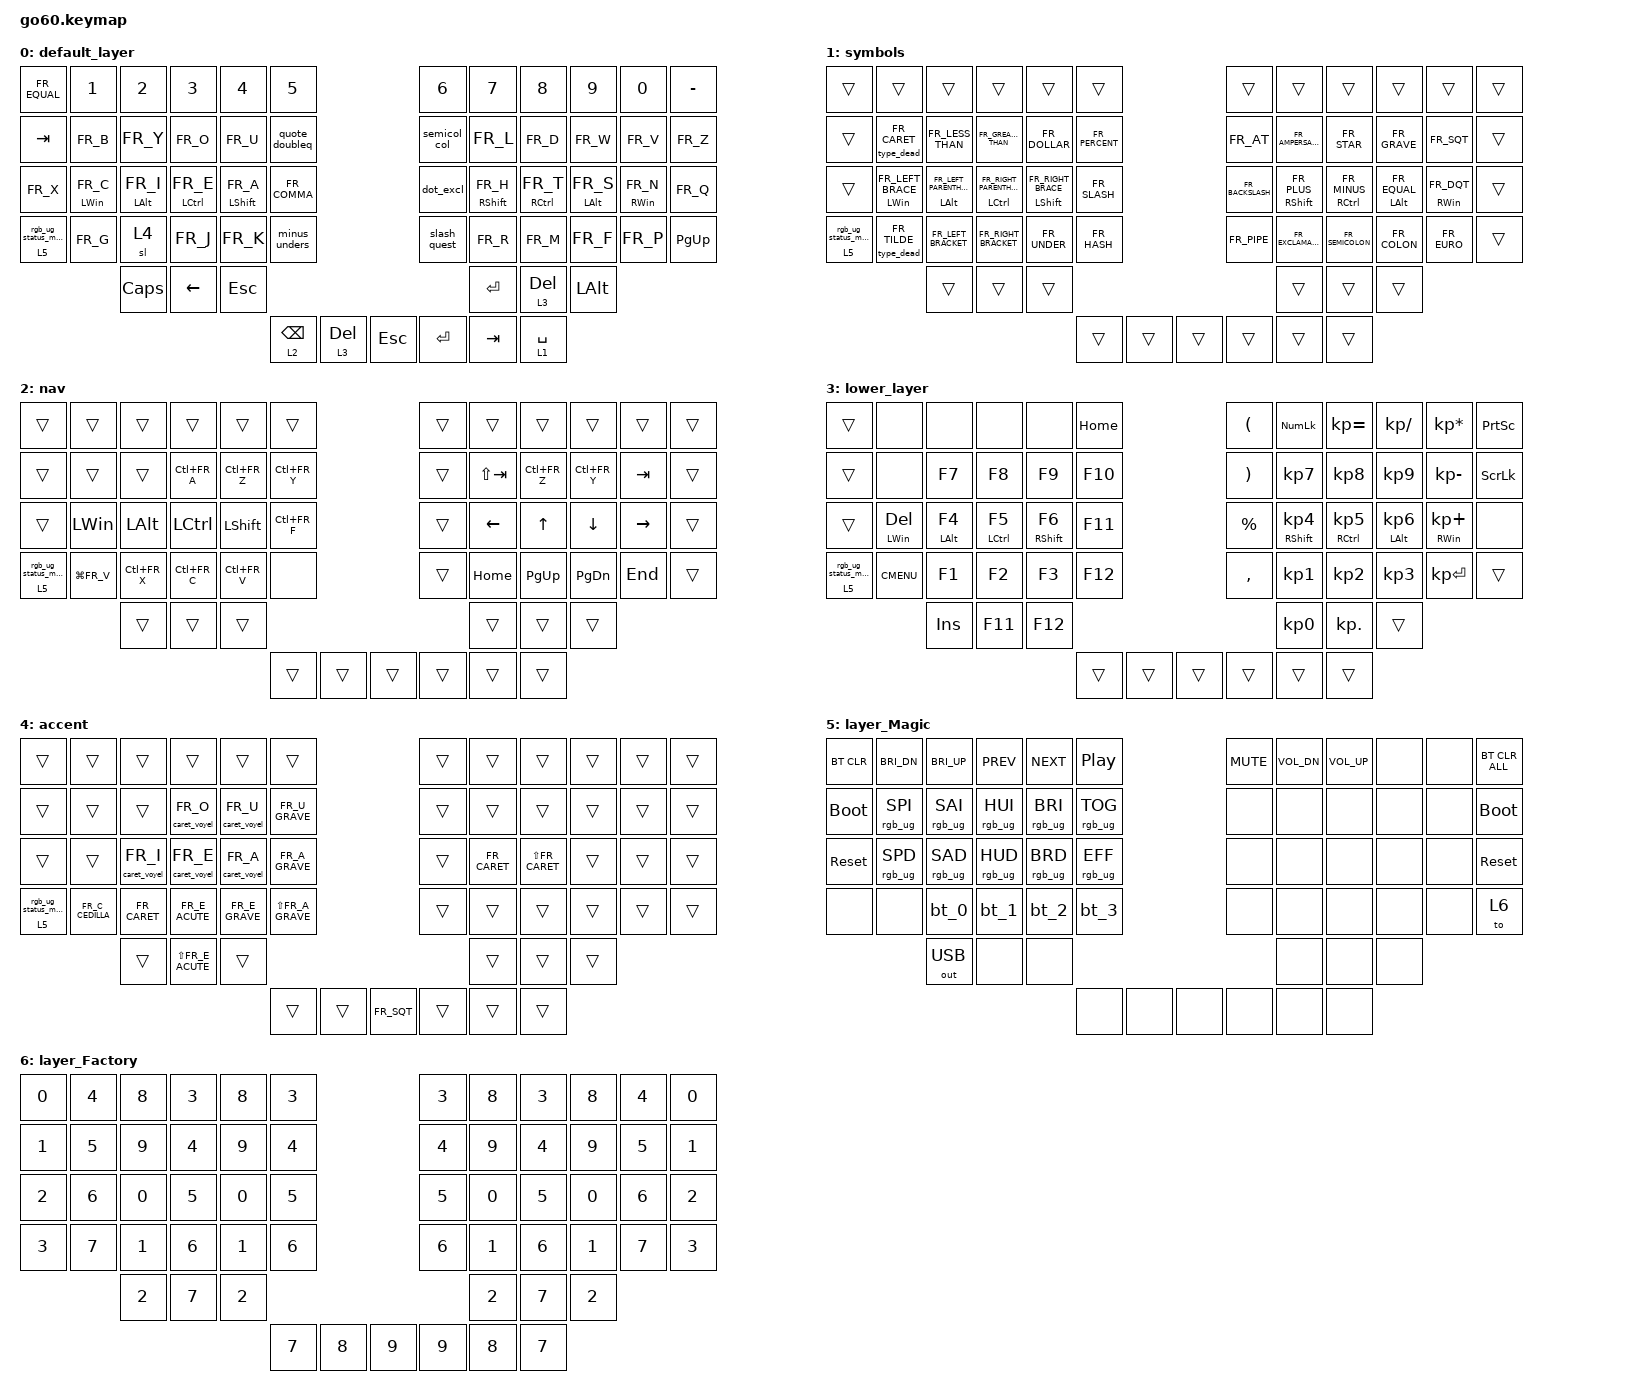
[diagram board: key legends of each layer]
/*
 * Copyright (c) 2020 The ZMK Contributors
 *
 * SPDX-License-Identifier: MIT
 */

#include <dt-bindings/zmk/input_transform.h>
#include "keys_fr_belgian.h"
#include <input/processors.dtsi>
#include <zephyr/dt-bindings/input/input-event-codes.h>
#include <behaviors.dtsi>
#include <dt-bindings/zmk/bt.h>
#include <dt-bindings/zmk/keys.h>
#include <dt-bindings/zmk/outputs.h>
#include <dt-bindings/zmk/rgb.h>

// layers

#define DEFAULT 0
#define SYMBOLS  1
#define NAV 2
#define LOWER 3
#define ACCENT 4
#define MAGIC 5
#define LAYER_Factory 6

/ {
    input_processors {
        zip_click_to_right_click_mapper: zip_click_to_right_click_mapper {
            compatible = "zmk,input-processor-code-mapper";
            #input-processor-cells = <0>;
            type = <INPUT_EV_KEY>;
            map = <INPUT_BTN_0 INPUT_BTN_1>;
        };
    };

    behaviors {
        magic: magic {
            compatible = "zmk,behavior-hold-tap";
            #binding-cells = <2>;
            flavor = "tap-preferred";
            tapping-term-ms = <200>;
            bindings = <&mo>, <&rgb_ug_status_macro>;
        };

        bt_0: bt_0 {
            compatible = "zmk,behavior-tap-dance";
            #binding-cells = <0>;
            tapping-term-ms = <200>;
            bindings = <&bt_select_0>, <&bt BT_DISC 0>;
        };

        bt_1: bt_1 {
            compatible = "zmk,behavior-tap-dance";
            #binding-cells = <0>;
            tapping-term-ms = <200>;
            bindings = <&bt_select_1>, <&bt BT_DISC 1>;
        };

        bt_2: bt_2 {
            compatible = "zmk,behavior-tap-dance";
            #binding-cells = <0>;
            tapping-term-ms = <200>;
            bindings = <&bt_select_2>, <&bt BT_DISC 2>;
        };

        bt_3: bt_3 {
            compatible = "zmk,behavior-tap-dance";
            #binding-cells = <0>;
            tapping-term-ms = <200>;
            bindings = <&bt_select_3>, <&bt BT_DISC 3>;
        };

        layer_td: tap_dance_0 {
            compatible = "zmk,behavior-tap-dance";
            label = "LAYER_TAP_DANCE";
            #binding-cells = <0>;
            tapping-term-ms = <200>;
            bindings = <&mo 3>, <&to 3>;
        };

        hmr: hmr {
            compatible = "zmk,behavior-hold-tap";
            label = "HMR";
            bindings = <&kp>, <&kp>;

            #binding-cells = <2>;
            tapping-term-ms = <280>;
            quick-tap-ms = <175>;
            flavor = "balanced";
            require-prior-idle-ms = <150>;
            hold-trigger-on-release;
            hold-trigger-key-positions = <36 37 48 49 50 54 55 56 57 58 59 0 1 2 3 4 5 12 13 14 15 16 17 24 25 26 27 28 29 38 39 40 41>;
            retro-tap;
        };

        hml: hml {
            compatible = "zmk,behavior-hold-tap";
            label = "HML";
            bindings = <&kp>, <&kp>;

            #binding-cells = <2>;
            tapping-term-ms = <280>;
            quick-tap-ms = <175>;
            flavor = "balanced";
            require-prior-idle-ms = <150>;
            hold-trigger-on-release;
            hold-trigger-key-positions = <6 7 8 9 10 11 18 19 20 21 22 23 30 31 32 33 34 35 42 43 44 45 46 47 51 52 53 57 58 59 54 55 56>;
            retro-tap;
        };

        thumb_layers: thumb_layers {
            compatible = "zmk,behavior-hold-tap";
            label = "THUMB_LAYERS";
            bindings = <&mo>, <&kp>;

            #binding-cells = <2>;
            tapping-term-ms = <200>;
            quick-tap-ms = <150>;
            flavor = "balanced";
            retro-tap;
        };

        dot_excl: dot_excl {
            compatible = "zmk,behavior-mod-morph";
            label = "DOT_EXCL";
            bindings = <&kp FR_DOT>, <&kp FR_EXCL>;

            #binding-cells = <0>;
            mods = <(MOD_LSFT|MOD_RSFT)>;
        };

        semicol_col: semicol_col {
            compatible = "zmk,behavior-mod-morph";
            label = "SEMICOL_COL";
            bindings = <&kp FR_COLON>, <&kp FR_SEMICOLON>;

            #binding-cells = <0>;
            mods = <(MOD_LSFT|MOD_RSFT)>;
        };

        slash_quest: slash_quest {
            compatible = "zmk,behavior-mod-morph";
            label = "SLASH_QUEST";
            bindings = <&kp FR_SLASH>, <&kp FR_QUESTION>;

            #binding-cells = <0>;
            mods = <(MOD_LSFT|MOD_RSFT)>;
        };

        quote_doubleq: quote_doubleq {
            compatible = "zmk,behavior-mod-morph";
            label = "QUOTE_DOUBLEQ";
            bindings = <&kp FR_SINGLE_QUOTE>, <&kp FR_DOUBLE_QUOTES>;

            #binding-cells = <0>;
            mods = <(MOD_LSFT|MOD_RSFT)>;
        };

        minus_unders: minus_unders {
            compatible = "zmk,behavior-mod-morph";
            label = "MINUS_UNDERS";
            bindings = <&kp FR_MINUS>, <&kp FR_UNDERSCORE>;

            #binding-cells = <0>;
            mods = <(MOD_LSFT|MOD_RSFT)>;
        };
    };

    macros {
        rgb_ug_status_macro: rgb_ug_status_macro {
            compatible = "zmk,behavior-macro";
            #binding-cells = <0>;
            bindings = <&rgb_ug RGB_STATUS>;
        };

        bt_select_0: bt_select_0 {
            compatible = "zmk,behavior-macro";
            #binding-cells = <0>;
            bindings = <&out OUT_BLE &bt BT_SEL 0>;
        };

        bt_select_1: bt_select_1 {
            compatible = "zmk,behavior-macro";
            #binding-cells = <0>;
            bindings = <&out OUT_BLE &bt BT_SEL 1>;
        };

        bt_select_2: bt_select_2 {
            compatible = "zmk,behavior-macro";
            #binding-cells = <0>;
            bindings = <&out OUT_BLE &bt BT_SEL 2>;
        };

        bt_select_3: bt_select_3 {
            compatible = "zmk,behavior-macro";
            #binding-cells = <0>;
            bindings = <&out OUT_BLE &bt BT_SEL 3>;
        };

        type_dead: type_dead {
            compatible = "zmk,behavior-macro-one-param";
            #binding-cells = <1>;
            bindings = <&macro_param_1to1 &kp MACRO_PLACEHOLDER &kp SPACE>;
            label = "TYPE_DEAD";
        };

        caret_voyel: caret_voyel {
            compatible = "zmk,behavior-macro-one-param";
            #binding-cells = <1>;
            bindings = <&kp FR_CARET &macro_param_1to1 &kp MACRO_PLACEHOLDER>;
            label = "CARET_VOYEL";
        };
    };

    keymap {
        compatible = "zmk,keymap";

        default_layer {
            // ---------------------------------------------------------------------------------------------------------------------------------
            // |  =    |  1  |  2  |  3   |  4   |  5   |                                                 |  6   |   7   |   8   |  9   |   0   |   -  |
            // |  TAB  |  Q  |  W  |  E   |  R   |  T   |                                                 |  Y   |   U   |   I   |  O   |   P   |   \  |
            // |  ESC  |  A  |  S  |  D   |  F   |  G   |                                                 |  H   |   J   |   K   |  L   |   ;   |   '  |
            // |   `   |  Z  |  X  |  C   |  V   |  B   |                                                 |  N   |   M   |   ,   |  .   |   /   | PGUP |
            //               | END | LEFT | RIGHT|      | BSPC  | DEL   | LALT  | | RALT  | RET   | SPACE |      |  UP   | DOWN  |  O   | 

            bindings = <
&kp FR_EQUAL  &kp N1              &kp N2              &kp N3           &kp N4                &kp N5                                                                                                                 &kp N6        &kp N7           &kp N8                  &kp N9              &kp N0               &kp MINUS
&kp TAB       &kp FR_B            &kp FR_Y            &kp FR_O         &kp FR_U              &quote_doubleq                                                                                                         &semicol_col  &kp FR_L         &kp FR_D                &kp FR_W            &kp FR_V             &kp FR_Z
&kp FR_X      &hml LEFT_WIN FR_C  &hml LEFT_ALT FR_I  &hml LCTRL FR_E  &hml LEFT_SHIFT FR_A  &kp FR_COMMA                                                                                                           &dot_excl     &hmr RSHFT FR_H  &hmr RCTRL FR_T         &hmr LEFT_ALT FR_S  &hmr RIGHT_WIN FR_N  &kp FR_Q
&magic 5 0    &kp FR_G            &sl 4               &kp FR_J         &kp FR_K              &minus_unders                                                                                                          &slash_quest  &kp FR_R         &kp FR_M                &kp FR_F            &kp FR_P             &kp PG_UP
                                  &kp CAPSLOCK        &kp LEFT         &kp ESC                                                                                                                                                    &kp ENTER        &thumb_layers 3 DELETE  &kp LALT
                                                                                                             &thumb_layers 2 BACKSPACE  &thumb_layers 3 DELETE  &kp ESC  &kp ENTER  &kp TAB  &thumb_layers 1 SPACE
            >;
        };

        symbols {
            bindings = <
&trans      &trans                       &trans                             &trans                           &trans                          &trans                                                          &trans            &trans                    &trans               &trans                  &trans                 &trans
&trans      &type_dead FR_CARET          &kp FR_LESS_THAN                   &kp FR_GREATER_THAN              &kp FR_DOLLAR                   &kp FR_PERCENT                                                  &kp FR_AT         &kp FR_AMPERSAND          &kp FR_STAR          &kp FR_GRAVE            &kp FR_SQT             &trans
&trans      &hml LEFT_WIN FR_LEFT_BRACE  &hml LEFT_ALT FR_LEFT_PARENTHESIS  &hml LCTRL FR_RIGHT_PARENTHESIS  &hml LEFT_SHIFT FR_RIGHT_BRACE  &kp FR_SLASH                                                    &kp FR_BACKSLASH  &hmr RIGHT_SHIFT FR_PLUS  &hmr RCTRL FR_MINUS  &hmr LEFT_ALT FR_EQUAL  &hmr RIGHT_WIN FR_DQT  &trans
&magic 5 0  &type_dead FR_TILDE          &kp FR_LEFT_BRACKET                &kp FR_RIGHT_BRACKET             &kp FR_UNDER                    &kp FR_HASH                                                     &kp FR_PIPE       &kp FR_EXCLAMATION        &kp FR_SEMICOLON     &kp FR_COLON            &kp FR_EURO            &trans
                                         &trans                             &trans                           &trans                                                                                                            &trans                    &trans               &trans
                                                                                                                                                             &trans  &trans  &trans  &trans  &trans  &trans
            >;
        };

        nav {
            bindings = <
&trans      &trans        &trans        &trans        &trans          &trans                                                        &trans  &trans          &trans        &trans          &trans     &trans
&trans      &trans        &trans        &kp LC(FR_A)  &kp LC(FR_Z)    &kp LC(FR_Y)                                                  &trans  &kp LS(TAB)     &kp LC(FR_Z)  &kp LC(FR_Y)    &kp TAB    &trans
&trans      &kp LEFT_WIN  &kp LEFT_ALT  &kp LCTRL     &kp LEFT_SHIFT  &kp LC(FR_F)                                                  &trans  &kp LEFT_ARROW  &kp UP        &kp DOWN_ARROW  &kp RIGHT  &trans
&magic 5 0  &kp LG(FR_V)  &kp LC(FR_X)  &kp LC(FR_C)  &kp LC(FR_V)    &none                                                         &trans  &kp HOME        &kp PAGE_UP   &kp PAGE_DOWN   &kp END    &trans
                          &trans        &trans        &trans                                                                                &trans          &trans        &trans
                                                                                    &trans  &trans  &trans  &trans  &trans  &trans
            >;
        };

        lower_layer {
            bindings = <
&trans      &none                 &none             &none          &none           &kp HOME                                                  &kp LPAR   &kp KP_NUM         &kp KP_EQUAL      &kp KP_DIVIDE        &kp KP_MULTIPLY         &kp PSCRN
&trans      &none                 &kp F7            &kp F8         &kp F9          &kp F10                                                   &kp RPAR   &kp KP_N7          &kp KP_N8         &kp KP_N9            &kp KP_MINUS            &kp SLCK
&trans      &hml LEFT_WIN DELETE  &hml LEFT_ALT F4  &hml LCTRL F5  &hml RSHIFT F6  &kp F11                                                   &kp PRCNT  &hmr RSHIFT KP_N4  &hmr RCTRL KP_N5  &hmr LEFT_ALT KP_N6  &hmr RIGHT_WIN KP_PLUS  &none
&magic 5 0  &kp K_CMENU           &kp F1            &kp F2         &kp F3          &kp F12                                                   &kp COMMA  &kp KP_N1          &kp KP_N2         &kp KP_N3            &kp KP_ENTER            &trans
                                  &kp INS           &kp F11        &kp F12                                                                              &kp KP_NUMBER_0    &kp KP_DOT        &trans
                                                                                             &trans  &trans  &trans  &trans  &trans  &trans
            >;
        };

        accent {
            bindings = <
&trans      &trans            &trans             &trans              &trans             &trans                                                                  &trans  &trans        &trans            &trans  &trans  &trans
&trans      &trans            &trans             &caret_voyel FR_O   &caret_voyel FR_U  &kp FR_U_GRAVE                                                          &trans  &trans        &trans            &trans  &trans  &trans
&trans      &trans            &caret_voyel FR_I  &caret_voyel FR_E   &caret_voyel FR_A  &kp FR_A_GRAVE                                                          &trans  &kp FR_CARET  &kp LS(FR_CARET)  &trans  &trans  &trans
&magic 5 0  &kp FR_C_CEDILLA  &kp FR_CARET       &kp FR_E_ACUTE      &kp FR_E_GRAVE     &kp LS(FR_A_GRAVE)                                                      &trans  &trans        &trans            &trans  &trans  &trans
                              &trans             &kp LS(FR_E_ACUTE)  &trans                                                                                             &trans        &trans            &trans
                                                                                                            &trans  &trans  &kp FR_SQT  &trans  &trans  &trans
            >;
        };

        layer_Magic {
            bindings = <
&bt BT_CLR   &kp C_BRI_DN     &kp C_BRI_UP     &kp C_PREV       &kp C_NEXT       &kp C_PP                                                   &kp C_MUTE  &kp C_VOL_DN  &kp C_VOL_UP  &none  &none  &bt BT_CLR_ALL
&bootloader  &rgb_ug RGB_SPI  &rgb_ug RGB_SAI  &rgb_ug RGB_HUI  &rgb_ug RGB_BRI  &rgb_ug RGB_TOG                                            &none       &none         &none         &none  &none  &bootloader
&sys_reset   &rgb_ug RGB_SPD  &rgb_ug RGB_SAD  &rgb_ug RGB_HUD  &rgb_ug RGB_BRD  &rgb_ug RGB_EFF                                            &none       &none         &none         &none  &none  &sys_reset
&none        &none            &bt_0            &bt_1            &bt_2            &bt_3                                                      &none       &none         &none         &none  &none  &to 6
                              &out OUT_USB     &none            &none                                                                                   &none         &none         &none
                                                                                                  &none  &none  &none  &none  &none  &none
            >;
        };

        layer_Factory {
            bindings = <
&kp N0  &kp N4  &kp N8  &kp N3  &kp N8  &kp N3                                                  &kp N3  &kp N8  &kp N3  &kp N8  &kp N4  &kp N0
&kp N1  &kp N5  &kp N9  &kp N4  &kp N9  &kp N4                                                  &kp N4  &kp N9  &kp N4  &kp N9  &kp N5  &kp N1
&kp N2  &kp N6  &kp N0  &kp N5  &kp N0  &kp N5                                                  &kp N5  &kp N0  &kp N5  &kp N0  &kp N6  &kp N2
&kp N3  &kp N7  &kp N1  &kp N6  &kp N1  &kp N6                                                  &kp N6  &kp N1  &kp N6  &kp N1  &kp N7  &kp N3
                &kp N2  &kp N7  &kp N2                                                                  &kp N2  &kp N7  &kp N2
                                                &kp N7  &kp N8  &kp N9  &kp N9  &kp N8  &kp N7
            >;
        };
    };
};

&cirque_rh_listener {
    input-processors = <&zip_xy_scaler 3 1>;

    layer_2 {
        layers = <2>;
        input-processors = <&zip_xy_scaler 9 1>;
    };
};

&cirque_lh_listener {
    input-processors =
        <&zip_xy_to_scroll_mapper>,
        <&zip_xy_scaler 1 8>,
        <&zip_click_to_right_click_mapper>;

    layer_4 {
        layers = <4>;
        input-processors = <&zip_xy_scaler 3 1>;
    };
};
